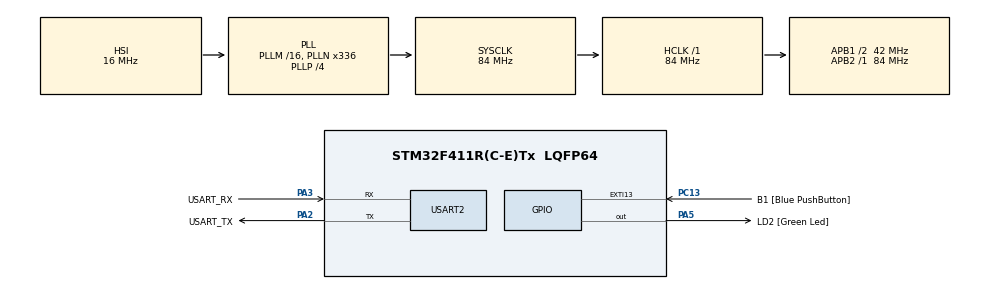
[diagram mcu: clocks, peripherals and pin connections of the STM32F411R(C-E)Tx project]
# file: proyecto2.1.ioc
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Mcu.Family=STM32F4
Mcu.Name=STM32F411R(C-E)Tx
Mcu.Package=LQFP64
NVIC.PriorityGroup=NVIC_PRIORITYGROUP_0
PA13.GPIO_Label=TMS
PA13.Mode=Serial_Wire
PA13.Signal=SYS_JTMS-SWDIO
PA14.GPIO_Label=TCK
PA14.Mode=Serial_Wire
PA14.Signal=SYS_JTCK-SWCLK
PA2.GPIO_Label=USART_TX
PA2.Mode=Asynchronous
PA2.Signal=USART2_TX
PA3.GPIO_Label=USART_RX
PA3.Mode=Asynchronous
PA3.Signal=USART2_RX
PA5.GPIO_Label=LD2 [Green Led]
PA5.Signal=GPIO_Output
PB3.GPIO_Label=SWO
PB3.Signal=SYS_JTDO-SWO
PC13-ANTI_TAMP.GPIO_Label=B1 [Blue PushButton]
PC13-ANTI_TAMP.GPIO_ModeDefaultEXTI=GPIO_MODE_IT_FALLING
PC13-ANTI_TAMP.Signal=GPXTI13
PC14-OSC32_IN.Mode=LSE-External-Oscillator
PC14-OSC32_IN.Signal=RCC_OSC32_IN
PC15-OSC32_OUT.Mode=LSE-External-Oscillator
PC15-OSC32_OUT.Signal=RCC_OSC32_OUT
PH0\ -\ OSC_IN.Mode=HSE-External-Clock-Source
PH0\ -\ OSC_IN.Signal=RCC_OSC_IN
PH1\ -\ OSC_OUT.Mode=HSE-External-Clock-Source
PH1\ -\ OSC_OUT.Signal=RCC_OSC_OUT
ProjectManager.HeapSize=0x200
ProjectManager.StackSize=0x400
ProjectManager.TargetToolchain=CMake
RCC.48MHZClocksFreq_Value=84000000
RCC.AHBFreq_Value=84000000
RCC.APB1CLKDivider=RCC_HCLK_DIV2
RCC.APB1Freq_Value=42000000
RCC.APB1TimFreq_Value=84000000
RCC.APB2Freq_Value=84000000
RCC.APB2TimFreq_Value=84000000
RCC.CortexFreq_Value=84000000
RCC.FLatency-AdvancedSettings=FLASH_LATENCY_2
RCC.HCLKFreq_Value=84000000
RCC.HSE_VALUE=8000000
RCC.HSI_VALUE=16000000
RCC.PLLN=336
RCC.PLLP=RCC_PLLP_DIV4
RCC.SYSCLKFreq_VALUE=84000000
RCC.SYSCLKSource=RCC_SYSCLKSOURCE_PLLCLK
RCC.VCOOutputFreq_Value=336000000
USART2.VirtualMode=VM_ASYNC
board=NUCLEO-F411RE

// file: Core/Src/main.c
/* USER CODE BEGIN Header */
/**
  ******************************************************************************
  * @file           : main.c
  * @brief          : Main program body
  ******************************************************************************
  * @attention
  *
  * Copyright (c) 2026 STMicroelectronics.
  * All rights reserved.
  *
  * This software is licensed under terms that can be found in the LICENSE file
  * in the root directory of this software component.
  * If no LICENSE file comes with this software, it is provided AS-IS.
  *
  ******************************************************************************
  */
/* USER CODE END Header */
#include "main.h"

UART_HandleTypeDef huart2;

void SystemClock_Config(void);
static void MX_GPIO_Init(void);
static void MX_USART2_UART_Init(void);

/* USER CODE BEGIN 0 */

void delayInit(delay_t *delay, tick_t duration)
{
  delay->duration = duration;
  delay->running  = false;
  delay->startTime = 0;
}

bool_t delayRead(delay_t *delay)
{
  tick_t time = HAL_GetTick();

  if (delay->running == false)
  {
    delay->startTime = time;
    delay->running   = true;
    return false;
  }

  if ((time - delay->startTime) >= delay->duration)
  {
    delay->running = false;
    return true;
  }

  return false;
}

void delayWrite(delay_t *delay, tick_t duration)
{
  delay->duration = duration;
}

/* USER CODE END 0 */

int main(void)
{

  /* MCU Configuration--------------------------------------------------------*/

  /* Reset of all peripherals, Initializes the Flash interface and the Systick. */
  HAL_Init();

  /* Configure the system clock */
  SystemClock_Config();

  /* Initialize all configured peripherals */
  MX_GPIO_Init();
  MX_USART2_UART_Init();
  /* USER CODE BEGIN 2 */
  delay_t delayLed;
  delayInit(&delayLed, 100);
  /* USER CODE END 2 */

  /* Infinite loop */
  while (1)
  {

    /* USER CODE BEGIN 3 */
    if (delayRead(&delayLed))
    {
      HAL_GPIO_TogglePin(LD2_GPIO_Port, LD2_Pin);
    }
  }
  /* USER CODE END 3 */
}

void SystemClock_Config(void)
{
  RCC_OscInitTypeDef RCC_OscInitStruct = {0};
  RCC_ClkInitTypeDef RCC_ClkInitStruct = {0};

  /** Configure the main internal regulator output voltage
  */
  __HAL_RCC_PWR_CLK_ENABLE();
  __HAL_PWR_VOLTAGESCALING_CONFIG(PWR_REGULATOR_VOLTAGE_SCALE1);

  /** Initializes the RCC Oscillators according to the specified paramiralo
  meters
  * in the RCC_OscInitTypeDef structure.
  */
  RCC_OscInitStruct.OscillatorType = RCC_OSCILLATORTYPE_HSI;
  RCC_OscInitStruct.HSIState = RCC_HSI_ON;
  RCC_OscInitStruct.HSICalibrationValue = RCC_HSICALIBRATION_DEFAULT;
  RCC_OscInitStruct.PLL.PLLState = RCC_PLL_ON;
  RCC_OscInitStruct.PLL.PLLSource = RCC_PLLSOURCE_HSI;
  RCC_OscInitStruct.PLL.PLLM = 16;
  RCC_OscInitStruct.PLL.PLLN = 336;
  RCC_OscInitStruct.PLL.PLLP = RCC_PLLP_DIV4;
  RCC_OscInitStruct.PLL.PLLQ = 4;
  if (HAL_RCC_OscConfig(&RCC_OscInitStruct) != HAL_OK)
  {
    Error_Handler();
  }

  /** Initializes the CPU, AHB and APB buses clocks
  */
  RCC_ClkInitStruct.ClockType = RCC_CLOCKTYPE_HCLK|RCC_CLOCKTYPE_SYSCLK
                              |RCC_CLOCKTYPE_PCLK1|RCC_CLOCKTYPE_PCLK2;
  RCC_ClkInitStruct.SYSCLKSource = RCC_SYSCLKSOURCE_PLLCLK;
  RCC_ClkInitStruct.AHBCLKDivider = RCC_SYSCLK_DIV1;
  RCC_ClkInitStruct.APB1CLKDivider = RCC_HCLK_DIV2;
  RCC_ClkInitStruct.APB2CLKDivider = RCC_HCLK_DIV1;

  if (HAL_RCC_ClockConfig(&RCC_ClkInitStruct, FLASH_LATENCY_2) != HAL_OK)
  {
    Error_Handler();
  }
}

static void MX_USART2_UART_Init(void)
{

  huart2.Instance = USART2;
  huart2.Init.BaudRate = 115200;
  huart2.Init.WordLength = UART_WORDLENGTH_8B;
  huart2.Init.StopBits = UART_STOPBITS_1;
  huart2.Init.Parity = UART_PARITY_NONE;
  huart2.Init.Mode = UART_MODE_TX_RX;
  huart2.Init.HwFlowCtl = UART_HWCONTROL_NONE;
  huart2.Init.OverSampling = UART_OVERSAMPLING_16;
  if (HAL_UART_Init(&huart2) != HAL_OK)
  {
    Error_Handler();
  }

}

static void MX_GPIO_Init(void)
{
  GPIO_InitTypeDef GPIO_InitStruct = {0};

  /* GPIO Ports Clock Enable */
  __HAL_RCC_GPIOC_CLK_ENABLE();
  __HAL_RCC_GPIOH_CLK_ENABLE();
  __HAL_RCC_GPIOA_CLK_ENABLE();
  __HAL_RCC_GPIOB_CLK_ENABLE();

  /*Configure GPIO pin Output Level */
  HAL_GPIO_WritePin(LD2_GPIO_Port, LD2_Pin, GPIO_PIN_RESET);

  /*Configure GPIO pin : B1_Pin */
  GPIO_InitStruct.Pin = B1_Pin;
  GPIO_InitStruct.Mode = GPIO_MODE_IT_FALLING;
  GPIO_InitStruct.Pull = GPIO_NOPULL;
  HAL_GPIO_Init(B1_GPIO_Port, &GPIO_InitStruct);

  /*Configure GPIO pin : LD2_Pin */
  GPIO_InitStruct.Pin = LD2_Pin;
  GPIO_InitStruct.Mode = GPIO_MODE_OUTPUT_PP;
  GPIO_InitStruct.Pull = GPIO_NOPULL;
  GPIO_InitStruct.Speed = GPIO_SPEED_FREQ_LOW;
  HAL_GPIO_Init(LD2_GPIO_Port, &GPIO_InitStruct);

}

void Error_Handler(void)
{
  __disable_irq();
  while (1)
  {
  }
}
